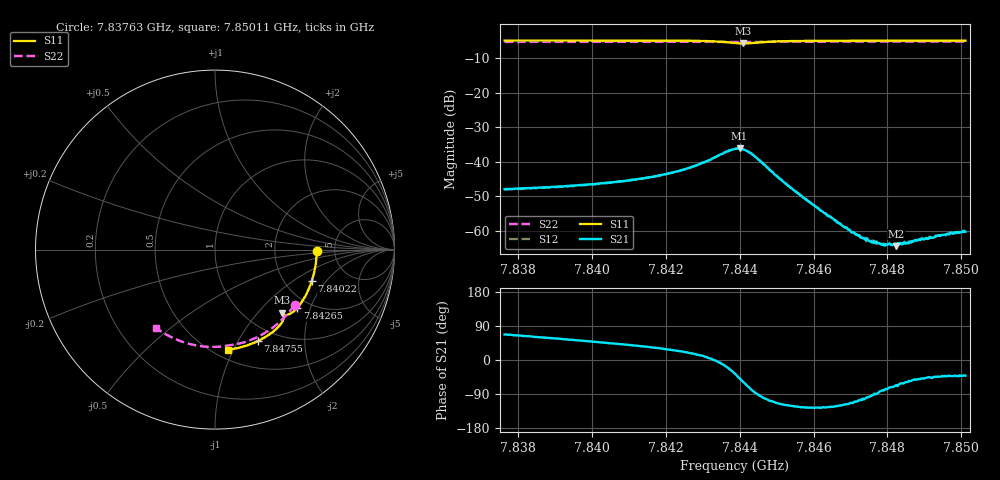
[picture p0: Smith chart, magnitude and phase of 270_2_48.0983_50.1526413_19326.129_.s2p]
#  HZ  S  RI  R  50.00
! Rohde & Schwarz Vector Network Analyzer
! Rohde-Schwarz,ZNB20-2Port,1311601062101988,3.16
! Created: UTC 12/23/2023, 4:01:40 AM
! freq[Hz]  re:S11  im:S11  re:S21  im:S21  re:S12  im:S12  re:S22  im:S22
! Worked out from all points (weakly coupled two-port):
!   401 points, 7.83763 GHz to 7.85011 GHz, reference 50 ohm
!   highest |S21| = -36.12 dB at 7.844 GHz (marker M1); lowest = -64.4 dB at 7.84824 GHz (marker M2)
!   lowest |S11| = -5.8 dB at 7.84409 GHz (marker M3), VSWR 3.11, Z = 71.4 - j68.2 ohm
!   |S11| at or under -10 dB: nowhere
!   |S22| runs from -5.4 to -5.3 dB; largest |S21 - S12| = 0.00023
!   S11 on the Smith chart (normalised r, x): 7.83763 GHz: 3.61, -0.06; 7.84022 GHz: 2.78, -1.45; 7.84265 GHz: 1.71, -1.63; 7.84755 GHz: 0.81, -1.21; 7.85011 GHz: 0.59, -0.95
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7.837626e9  0.5665 -0.00567  0.00156 0.0037  0.00153 0.00366  0.444 -0.3069
7.839718e9  0.5484 -0.1437  0.00291 0.00358  0.00285 0.00356  0.3459 -0.4153
7.840218e9  0.5388 -0.1761  0.00335 0.00353  0.00329 0.00351  0.3184 -0.4371
7.84181e9  0.4936 -0.2757  0.0054 0.00329  0.00539 0.00327  0.2221 -0.4936
7.842653e9  0.4574 -0.3256  0.00785 0.00261  0.00776 0.00263  0.1669 -0.5151
7.843402e9  0.4097 -0.3615  0.0121 -0.000967  0.0121 -0.000784  0.1157 -0.528
7.843871e9  0.376 -0.3596  0.0124 -0.00916  0.0123 -0.00913  0.0842 -0.5324
7.843995e9  0.3732 -0.3544  0.0103 -0.0118  0.0102 -0.0116  0.0766 -0.5335
7.844089e9  0.3737 -0.3517  0.00807 -0.0127  0.00813 -0.0128  0.0706 -0.5343
7.84437e9  0.3829 -0.3555  0.00154 -0.0124  0.00161 -0.0123  0.0527 -0.5376
7.845244e9  0.3669 -0.4141  -0.00233 -0.0042  -0.0023 -0.00426  -0.00842 -0.5427
7.845962e9  0.3304 -0.4515  -0.00142 -0.00197  -0.00142 -0.002  -0.0591 -0.5404
7.847086e9  0.266 -0.4954  -0.00036 -0.000891  -0.000366 -0.000865  -0.1369 -0.5271
7.847367e9  0.2493 -0.5043  -0.000183 -0.000751  -0.000174 -0.00077  -0.1559 -0.5217
7.847555e9  0.238 -0.51  -6.41e-05 -0.000686  -6.11e-05 -0.000699  -0.1686 -0.5178
7.847898e9  0.2167 -0.5194  0.000103 -0.000628  0.000131 -0.000639  -0.1913 -0.5103
7.848054e9  0.207 -0.5234  0.000202 -0.000626  0.00014 -0.000636  -0.2015 -0.5062
7.848241e9  0.1953 -0.528  0.000244 -0.000552  0.000282 -0.000606  -0.2137 -0.5014
7.848585e9  0.1735 -0.5356  0.000382 -0.000541  0.000372 -0.000595  -0.2358 -0.4917
7.848741e9  0.1636 -0.5387  0.000462 -0.000574  0.000458 -0.000596  -0.2456 -0.4869
7.849678e9  0.1029 -0.5532  0.000676 -0.000593  0.000663 -0.000596  -0.3028 -0.4544
7.850115e9  0.0741 -0.5576  0.000731 -0.00064  0.000749 -0.000661  -0.3278 -0.4368
